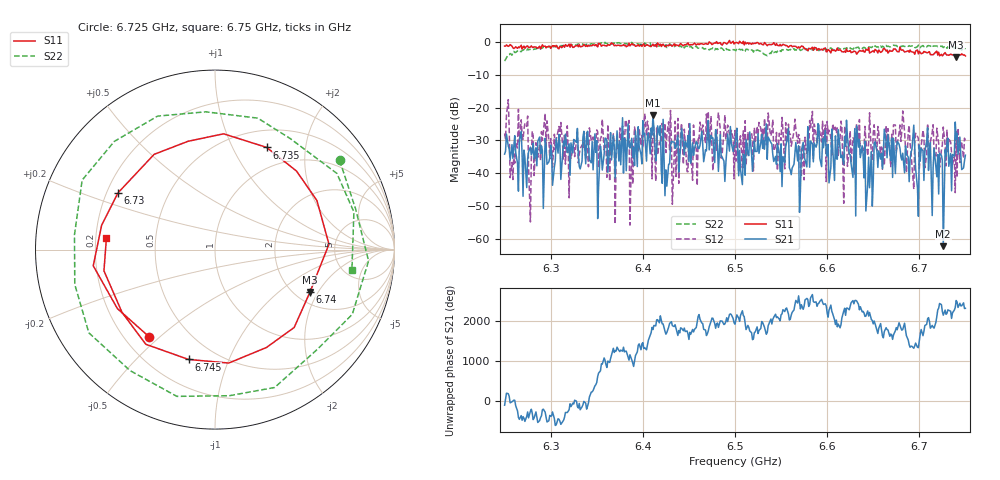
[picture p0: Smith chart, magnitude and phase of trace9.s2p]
# Hz S RI R 50
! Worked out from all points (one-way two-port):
!   401 points, 6.25 GHz to 6.75 GHz, reference 50 ohm
!   highest |S21| = -22.43 dB at 6.411 GHz (marker M1); lowest = -62.2 dB at 6.726 GHz (marker M2)
!   lowest |S11| = -4.7 dB at 6.74 GHz (marker M3), VSWR 3.76, Z = 120 - j85.1 ohm
!   |S11| at or under -10 dB: nowhere
!   |S22| runs from -5.9 to -0.2 dB; largest |S21 - S12| = 0.15
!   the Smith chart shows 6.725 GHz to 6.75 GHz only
!   S11 on the Smith chart (normalised r, x): 6.725 GHz: 0.30, -0.46; 6.73 GHz: 0.25, +0.26; 6.735 GHz: 0.71, +1.37; 6.74 GHz: 2.40, -1.70; 6.745 GHz: 0.36, -0.72; 6.75 GHz: 0.24, +0.05
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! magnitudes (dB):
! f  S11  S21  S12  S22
! 6.25 GHz  -1.3  -34.2  -27.9  -5.9
! 6.259 GHz  -1.8  -35.5  -41.9  -3.4
! 6.272 GHz  -2.0  -35.1  -24.8  -2.8
! 6.28 GHz  -1.7  -33.6  -27.2  -2.3
! 6.334 GHz  -1.4  -36.4  -31.4  -0.6
! 6.411 GHz  -0.7  -22.4  -24.5  -1.0
! 6.418 GHz  -1.1  -28.4  -30.5  -1.3
! 6.426 GHz  -1.1  -43.9  -28.4  -1.8
! 6.432 GHz  -1.3  -30.5  -49.4  -1.6
! 6.5 GHz  -0.4  -31.5  -27.0  -2.6
! 6.566 GHz  -1.4  -30.7  -26.5  -2.3
! 6.574 GHz  -1.5  -30.6  -31.0  -2.2
! 6.584 GHz  -1.7  -31.2  -21.2  -2.3
! 6.645 GHz  -1.7  -35.1  -31.1  -1.6
! 6.668 GHz  -2.6  -33.7  -33.8  -1.6
! 6.725 GHz  -4.3  -36.1  -31.3  -1.4
! 6.726 GHz  -3.9  -62.2  -25.9  -1.8
! 6.73 GHz  -4.1  -30.5  -26.9  -2.0
! 6.735 GHz  -3.9  -45.3  -34.1  -1.7
! 6.74 GHz  -4.7  -29.5  -27.3  -1.6
! 6.745 GHz  -4.0  -34.5  -30.3  -2.3
! 6.75 GHz  -4.3  -34.5  -30.2  -2.3
